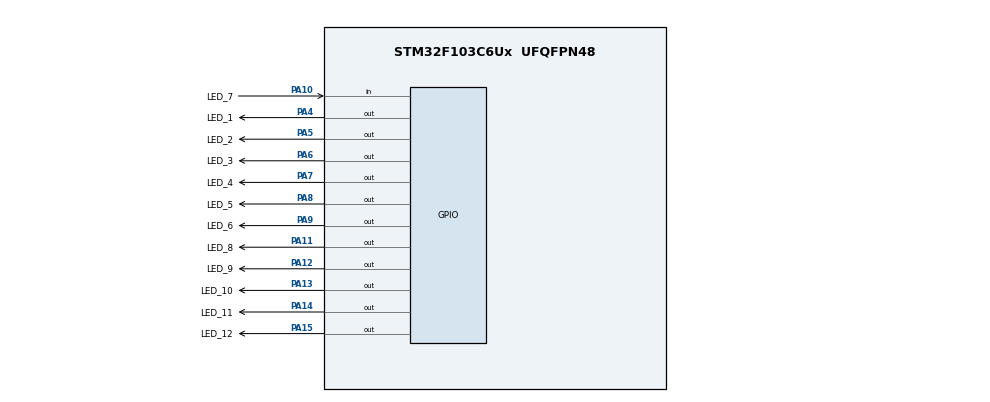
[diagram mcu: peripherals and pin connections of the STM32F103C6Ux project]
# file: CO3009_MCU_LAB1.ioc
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Mcu.Family=STM32F1
Mcu.Name=STM32F103C6Ux
Mcu.Package=UFQFPN48
NVIC.PriorityGroup=NVIC_PRIORITYGROUP_4
PA10.GPIO_Label=LED_7
PA10.Signal=GPIO_Input
PA11.GPIO_Label=LED_8
PA11.Signal=GPIO_Output
PA12.GPIO_Label=LED_9
PA12.Signal=GPIO_Output
PA13.GPIO_Label=LED_10
PA13.Signal=GPIO_Output
PA14.GPIO_Label=LED_11
PA14.Signal=GPIO_Output
PA15.GPIO_Label=LED_12
PA15.Signal=GPIO_Output
PA4.GPIO_Label=LED_1
PA4.Signal=GPIO_Output
PA5.GPIO_Label=LED_2
PA5.GPIO_ModeDefaultOutputPP=GPIO_MODE_OUTPUT_PP
PA5.GPIO_Speed=GPIO_SPEED_FREQ_LOW
PA5.PinState=GPIO_PIN_RESET
PA5.Signal=GPIO_Output
PA6.GPIO_Label=LED_3
PA6.GPIO_ModeDefaultOutputPP=GPIO_MODE_OUTPUT_PP
PA6.GPIO_Speed=GPIO_SPEED_FREQ_LOW
PA6.PinState=GPIO_PIN_RESET
PA6.Signal=GPIO_Output
PA7.GPIO_Label=LED_4
PA7.Signal=GPIO_Output
PA8.GPIO_Label=LED_5
PA8.Signal=GPIO_Output
PA9.GPIO_Label=LED_6
PA9.Signal=GPIO_Output
ProjectManager.HeapSize=0x200
ProjectManager.StackSize=0x400
ProjectManager.TargetToolchain=STM32CubeIDE
RCC.APB1Freq_Value=8000000
RCC.APB2Freq_Value=8000000
VP_SYS_VS_ND.Mode=No_Debug
board=custom

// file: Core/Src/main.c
/* USER CODE BEGIN Header */
/**
  ******************************************************************************
  * @file           : main.c
  * @brief          : Main program body
  ******************************************************************************
  * @attention
  *
  * <h2><center>&copy; Copyright (c) 2022 STMicroelectronics.
  * All rights reserved.</center></h2>
  *
  * This software component is licensed by ST under BSD 3-Clause license,
  * the "License"; You may not use this file except in compliance with the
  * License. You may obtain a copy of the License at:
  *                        opensource.org/licenses/BSD-3-Clause
  *
  ******************************************************************************
  */
/* USER CODE END Header */
#include "main.h"

/* USER CODE BEGIN PV */
uint32_t counter = 0;
uint16_t ledPin[12] = {LED_1_Pin, LED_2_Pin, LED_3_Pin, LED_4_Pin,
				LED_5_Pin, LED_6_Pin, LED_7_Pin, LED_8_Pin,
				LED_9_Pin, LED_10_Pin, LED_11_Pin, LED_12_Pin};
uint8_t hours = 0;
uint8_t mins = 0;
uint8_t secs = 0;

/* USER CODE END PV */

void SystemClock_Config(void);
static void MX_GPIO_Init(void);

/* USER CODE BEGIN 0 */

void testLed(int index){
	HAL_GPIO_WritePin(GPIOA, LED_1_Pin|LED_2_Pin|LED_3_Pin|LED_4_Pin
	                          |LED_5_Pin|LED_6_Pin|LED_7_Pin|LED_8_Pin
	                          |LED_9_Pin|LED_10_Pin|LED_11_Pin|LED_12_Pin, GPIO_PIN_RESET);
	HAL_GPIO_WritePin(GPIOA, ledPin[index], GPIO_PIN_SET);
}

void clearAllClock(){
	HAL_GPIO_WritePin(GPIOA, LED_1_Pin|LED_2_Pin|LED_3_Pin|LED_4_Pin
	                          |LED_5_Pin|LED_6_Pin|LED_7_Pin|LED_8_Pin
	                          |LED_9_Pin|LED_10_Pin|LED_11_Pin|LED_12_Pin, GPIO_PIN_RESET);
}

void setNumberOnClock(int num){
	HAL_GPIO_WritePin(GPIOA, ledPin[num], GPIO_PIN_SET);
}

void clearNumberOnClock(int num){
	HAL_GPIO_WritePin(GPIOA, ledPin[num], GPIO_PIN_RESET);

}
void clock(){
	clearAllClock();
	int secIndex;
	int minIndex;
	int hourIndex;

	secIndex = secs/5 - 1;
	if(secIndex < 0) secIndex = 11;

	minIndex = mins/5 - 1;
	if(minIndex < 0) minIndex = 11;

	hourIndex = hours - 1;
	if(hourIndex >= 12) hourIndex = hourIndex - 12;
	if(hourIndex < 0) hourIndex = 11;

	setNumberOnClock(secIndex);
	setNumberOnClock(minIndex);
	setNumberOnClock(hourIndex);
	secs ++;
	if(secs >= 60) {
		secs = 0;
		mins ++;
		if(mins >= 60){
			mins = 0;
			hours ++;
			if(hours >= 24){
				hours = 0;
			}
		}
	}
}

/* USER CODE END 0 */

int main(void)
{

  /* MCU Configuration--------------------------------------------------------*/

  /* Reset of all peripherals, Initializes the Flash interface and the Systick. */
  HAL_Init();

  /* Configure the system clock */
  SystemClock_Config();

  /* Initialize all configured peripherals */
  MX_GPIO_Init();

  /* Infinite loop */
  while (1)
  {
	  clock();
	  HAL_Delay(100);
	  /*
	  testLed(counter);
	  counter++;
	  if(counter >= 12) counter = 0;
	  HAL_Delay(1000);
	  */

  }
}

void SystemClock_Config(void)
{
  RCC_OscInitTypeDef RCC_OscInitStruct = {0};
  RCC_ClkInitTypeDef RCC_ClkInitStruct = {0};

  /** Initializes the RCC Oscillators according to the specified parameters
  * in the RCC_OscInitTypeDef structure.
  */
  RCC_OscInitStruct.OscillatorType = RCC_OSCILLATORTYPE_HSI;
  RCC_OscInitStruct.HSIState = RCC_HSI_ON;
  RCC_OscInitStruct.HSICalibrationValue = RCC_HSICALIBRATION_DEFAULT;
  RCC_OscInitStruct.PLL.PLLState = RCC_PLL_NONE;
  if (HAL_RCC_OscConfig(&RCC_OscInitStruct) != HAL_OK)
  {
    Error_Handler();
  }
  /** Initializes the CPU, AHB and APB buses clocks
  */
  RCC_ClkInitStruct.ClockType = RCC_CLOCKTYPE_HCLK|RCC_CLOCKTYPE_SYSCLK
                              |RCC_CLOCKTYPE_PCLK1|RCC_CLOCKTYPE_PCLK2;
  RCC_ClkInitStruct.SYSCLKSource = RCC_SYSCLKSOURCE_HSI;
  RCC_ClkInitStruct.AHBCLKDivider = RCC_SYSCLK_DIV1;
  RCC_ClkInitStruct.APB1CLKDivider = RCC_HCLK_DIV1;
  RCC_ClkInitStruct.APB2CLKDivider = RCC_HCLK_DIV1;

  if (HAL_RCC_ClockConfig(&RCC_ClkInitStruct, FLASH_LATENCY_0) != HAL_OK)
  {
    Error_Handler();
  }
}

static void MX_GPIO_Init(void)
{
  GPIO_InitTypeDef GPIO_InitStruct = {0};

  /* GPIO Ports Clock Enable */
  __HAL_RCC_GPIOA_CLK_ENABLE();

  /*Configure GPIO pin Output Level */
  HAL_GPIO_WritePin(GPIOA, LED_1_Pin|LED_2_Pin|LED_3_Pin|LED_4_Pin
                          |LED_5_Pin|LED_6_Pin|LED_7_Pin|LED_8_Pin
                          |LED_9_Pin|LED_10_Pin|LED_11_Pin|LED_12_Pin, GPIO_PIN_RESET);

  /*Configure GPIO pins : LED_1_Pin LED_2_Pin LED_3_Pin LED_4_Pin
                           LED_5_Pin LED_6_Pin LED_7_Pin LED_8_Pin
                           LED_9_Pin LED_10_Pin LED_11_Pin LED_12_Pin */
  GPIO_InitStruct.Pin = LED_1_Pin|LED_2_Pin|LED_3_Pin|LED_4_Pin
                          |LED_5_Pin|LED_6_Pin|LED_7_Pin|LED_8_Pin
                          |LED_9_Pin|LED_10_Pin|LED_11_Pin|LED_12_Pin;
  GPIO_InitStruct.Mode = GPIO_MODE_OUTPUT_PP;
  GPIO_InitStruct.Pull = GPIO_NOPULL;
  GPIO_InitStruct.Speed = GPIO_SPEED_FREQ_LOW;
  HAL_GPIO_Init(GPIOA, &GPIO_InitStruct);

}

void Error_Handler(void)
{
  __disable_irq();
  while (1)
  {
  }
}

/************************ (C) COPYRIGHT STMicroelectronics *****END OF FILE****/
